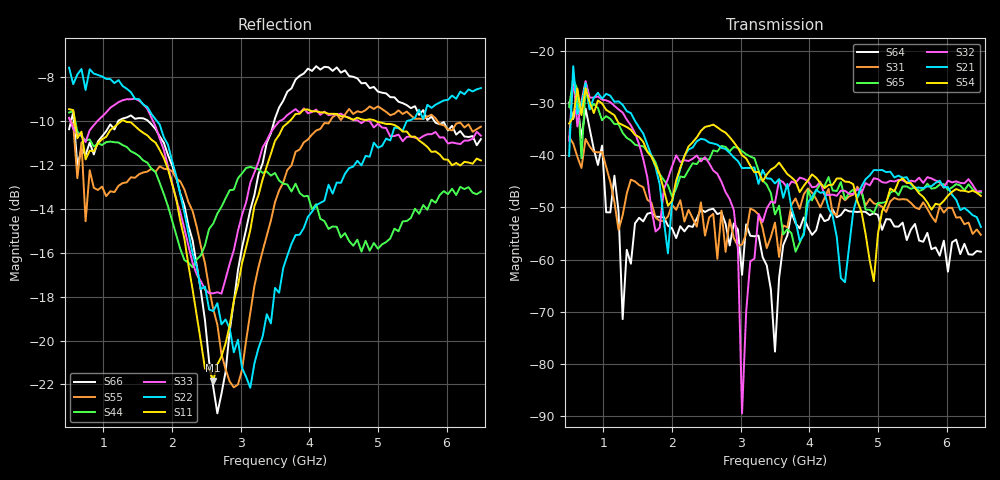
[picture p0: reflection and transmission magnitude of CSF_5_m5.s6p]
!Keysight Technologies,M9804A,MY58100912,A.14.10.03
!Date: Thursday, April 27, 2023 10:28:33
!Correction: S11(C  6-Port  )
!S12(C  6-Port  )
!S13(C  6-Port  )
!S14(C  6-Port  )
!S15(C  6-Port  )
!S16(C  6-Port  )
!S21(C  6-Port  )
!S22(C  6-Port  )
!S23(C  6-Port  )
!S24(C  6-Port  )
!S25(C  6-Port  )
!S26(C  6-Port  )
!S31(C  6-Port  )
!S32(C  6-Port  )
!S33(C  6-Port  )
!S34(C  6-Port  )
!S35(C  6-Port  )
!S36(C  6-Port  )
!S41(C  6-Port  )
!S42(C  6-Port  )
!S43(C  6-Port  )
!S44(C  6-Port  )
!S45(C  6-Port  )
!S46(C  6-Port  )
!S51(C  6-Port  )
!S52(C  6-Port  )
!S53(C  6-Port  )
!S54(C  6-Port  )
!S55(C  6-Port  )
!S56(C  6-Port  )
!S61(C  6-Port  )
!S62(C  6-Port  )
!S63(C  6-Port  )
!S64(C  6-Port  )
!S65(C  6-Port  )
!S66(C  6-Port  )
!S6P File: Measurement: :
# Hz S  RI  R 50
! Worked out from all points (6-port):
!   101 points, 500 MHz to 6.5 GHz, reference 50 ohm
!   strongest paths, dB at 500 MHz, 2 GHz, 3.5 GHz, 5 GHz, 6.5 GHz:
!     S54: -33.9, -48.7, -42.3, -55.1, -47.8
!     S21: -40.2, -49.0, -45.4, -42.9, -53.7
!     S32: -37.2, -42.1, -49.2, -44.6, -46.9
!     S65: -30.7, -47.9, -51.4, -49.1, -47.1
!     S31: -36.5, -49.5, -52.9, -49.4, -55.3
!     S64: -29.9, -54.0, -77.6, -51.4, -58.5
!   lowest |S11| = -21.8 dB at 2.6 GHz (marker M1), VSWR 1.18, Z = 42.7 + j1.92 ohm
!   |S11| at or under -10 dB: 582.3 MHz to 1.271 GHz (688.2 MHz wide, 74.3 % of centre); 1.296 GHz to 3.721 GHz (2.424 GHz wide, 96.6 % of centre); 4.955 GHz to end of sweep
